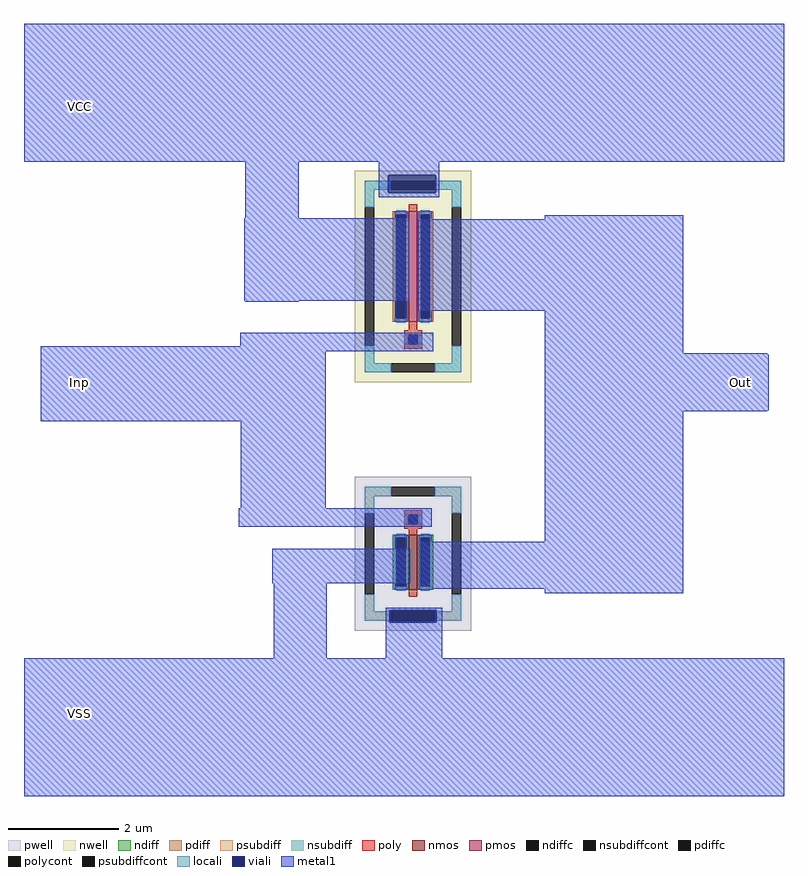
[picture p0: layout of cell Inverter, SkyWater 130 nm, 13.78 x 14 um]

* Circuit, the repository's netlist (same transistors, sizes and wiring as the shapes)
** sch_path: /foss/designs/inverter/xschem/Inverter.sch
.subckt Inverter VCC Out Inp VSS
*.PININFO Inp:B VSS:B Out:B VCC:B
XM2 Out Inp VCC VCC sky130_fd_pr__pfet_01v8 L=0.15 W=2 nf=1 m=1
XM3 Out Inp VSS VSS sky130_fd_pr__nfet_01v8 L=0.15 W=1 nf=1 m=1
.ends

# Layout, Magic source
magic
tech sky130A
magscale 1 2
<< viali >>
rect 620 188 794 252
rect 626 -1369 795 -1326
<< metal1 >>
rect -700 300 2056 800
rect 103 95 297 300
rect 587 252 806 300
rect 587 188 620 252
rect 794 188 806 252
rect 587 172 806 188
rect 99 -204 697 95
rect 1189 92 1690 107
rect 103 -207 297 -204
rect 729 -240 1690 92
rect 84 -369 784 -320
rect -639 -387 784 -369
rect -639 -641 395 -387
rect 86 -957 395 -641
rect 1189 -395 1690 -240
rect 1189 -400 1995 -395
rect 1189 -600 2000 -400
rect 1189 -605 1995 -600
rect 79 -1024 779 -957
rect 1189 -1078 1690 -605
rect 200 -1229 700 -1103
rect 206 -1500 398 -1229
rect 737 -1249 1690 -1078
rect 1189 -1264 1690 -1249
rect 611 -1326 817 -1317
rect 611 -1369 626 -1326
rect 795 -1369 817 -1326
rect 611 -1500 817 -1369
rect -700 -2000 2056 -1500
use sky130_fd_pr__pfet_01v8_KKBWU4  XM2
transform 1 0 711 0 1 -116
box -211 -384 211 384
use sky130_fd_pr__nfet_01v8_CLCAJE  XM3
transform 1 0 711 0 1 -1121
box -211 -279 211 279
<< labels >>
flabel metal1 1800 -600 2000 -400 0 FreeSans 256 0 0 0 Out
port 1 nsew
flabel metal1 -600 -600 -400 -400 0 FreeSans 256 0 0 0 Inp
port 2 nsew
flabel metal1 -600 400 -400 600 0 FreeSans 256 0 0 0 VCC
port 0 nsew
flabel metal1 -600 -1800 -400 -1600 0 FreeSans 256 0 0 0 VSS
port 3 nsew
<< end >>

# cell sky130_fd_pr__pfet_01v8_KKBWU4: kit device sky130_fd_pr__pfet_01v8, w 2.0 l 0.15 m 1 nf 1 diffcov 100 polycov 100 guard 1 glc 1 grc 1 gtc 1 gbc 1 tbcov 100 rlcov 100 topc 0 botc 1 poverlap 0 doverlap 1 lmin 0.15 wmin 0.42 class mosfet compatible {sky130_fd_pr__pfet_01v8 sky130_fd_pr__pfet_01v8_lvt sky130_fd_pr__pfet_01v8_hvt sky130_fd_pr__pfet_g5v0d10v5} full_metal 1 conn_gates 0 viasrc 100 viadrn 100 viagate 100 viagb 0 viagr 0 viagl 0 viagt 0 doports 1

# cell sky130_fd_pr__nfet_01v8_CLCAJE: kit device sky130_fd_pr__nfet_01v8, w 1.0 l 0.15 m 1 nf 1 diffcov 100 polycov 100 guard 1 glc 1 grc 1 gtc 1 gbc 1 tbcov 100 rlcov 100 topc 1 botc 0 poverlap 0 doverlap 1 lmin 0.15 wmin 0.42 class mosfet compatible {sky130_fd_pr__nfet_01v8 sky130_fd_pr__nfet_01v8_lvt sky130_fd_bs_flash__special_sonosfet_star sky130_fd_pr__nfet_g5v0d10v5 sky130_fd_pr__nfet_05v0_nvt sky130_fd_pr__nfet_03v3_nvt} full_metal 1 conn_gates 0 viasrc 100 viadrn 100 viagate 100 viagb 0 viagr 0 viagl 0 viagt 0 doports 1
